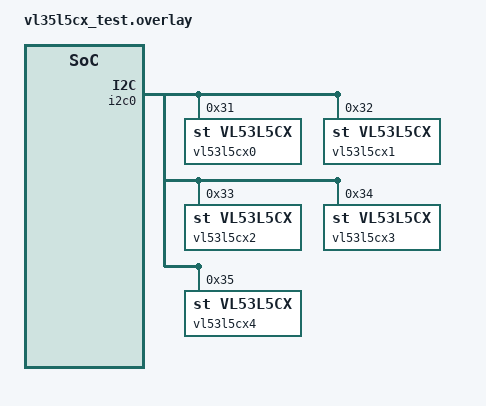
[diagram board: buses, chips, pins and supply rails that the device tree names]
/* Five VL53L5CX devices on the shared FPGA I2C bus, at their reassigned addresses. */

&i2c0 {
	vl53l5cx0: distance-sensor@31 {
		compatible = "st,vl53l5cx";
		reg = <0x31>;
		status = "okay";
	};

	vl53l5cx1: distance-sensor@32 {
		compatible = "st,vl53l5cx";
		reg = <0x32>;
		status = "okay";
	};

	vl53l5cx2: distance-sensor@33 {
		compatible = "st,vl53l5cx";
		reg = <0x33>;
		status = "okay";
	};

	vl53l5cx3: distance-sensor@34 {
		compatible = "st,vl53l5cx";
		reg = <0x34>;
		status = "okay";
	};

	/* The fifth sensor is wired straight to the bus with no XSHUT line. */
	vl53l5cx4: distance-sensor@35 {
		compatible = "st,vl53l5cx";
		reg = <0x35>;
		status = "okay";
	};
};

/ {
	aliases {
		tof0 = &vl53l5cx0;
		tof1 = &vl53l5cx1;
		tof2 = &vl53l5cx2;
		tof3 = &vl53l5cx3;
		tof4 = &vl53l5cx4;
	};
};
